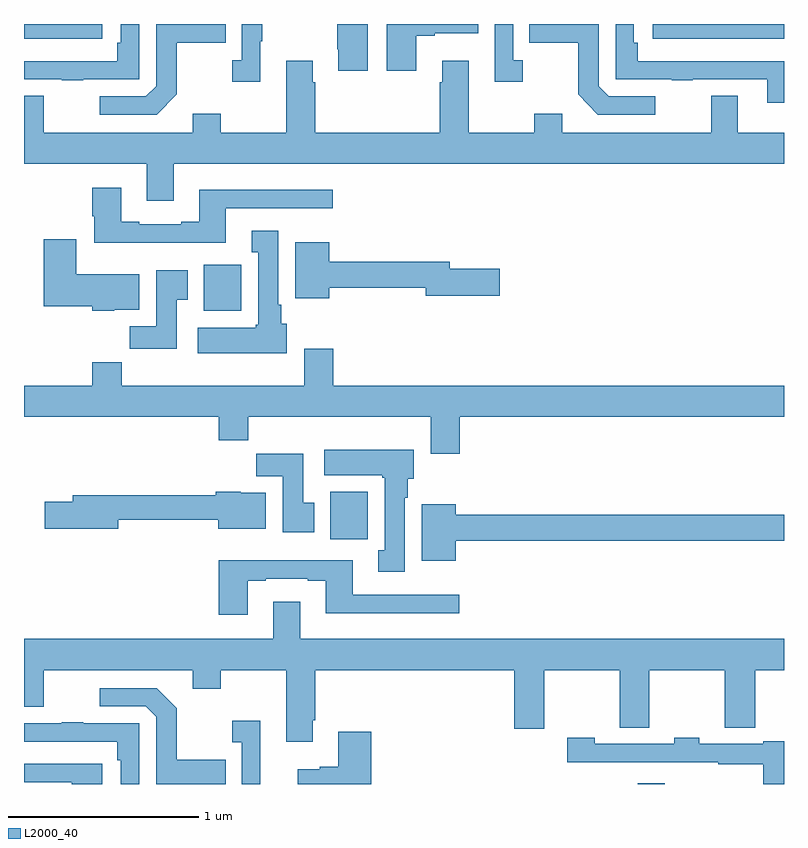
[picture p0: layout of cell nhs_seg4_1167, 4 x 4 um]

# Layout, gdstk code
import gdstk
lib = gdstk.Library(unit=1e-6, precision=1e-09)
def R(c, l, rs):  # rectangles x0, y0, x1, y1
    for r in rs: c.add(gdstk.rectangle(r[:2], r[2:], *l))
def P(c, l, *ps):  # polygons
    for p in ps: c.add(gdstk.Polygon(p, *l))
L2000_40 = (2000, 40)

nhs_seg4_1167 = lib.new_cell('nhs_seg4_1167')
R(nhs_seg4_1167, L2000_40, [(174.23,782.9,174.373,782.905), (172.613,784.188,172.809,784.438), (171.947,785.39,172.144,785.632), (171,786.822,171.412,786.9), (174.309,786.822,175,786.9)])
P(nhs_seg4_1167, L2000_40, [(171.311,786.609),(171.606,786.609),(171.606,786.9),(171.51,786.9),(171.51,786.802),(171.49,786.802),(171.49,786.705),(171,786.705),(171,786.609),(171.199,786.609),(171.199,786.604),(171.311,786.604)],
  [(172.81,786.9),(172.648,786.9),(172.648,786.766),(172.655,786.766),(172.655,786.654),(172.81,786.654)],
  [(174.322,786.519),(174.078,786.519),(174.024,786.573),(174.024,786.9),(173.659,786.9),(173.659,786.802),(173.916,786.802),(173.916,786.529),(174.021,786.423),(174.322,786.423)],
  [(173.065,786.839),(173.161,786.839),(173.161,786.851),(173.392,786.851),(173.392,786.9),(172.91,786.9),(172.91,786.654),(173.065,786.654)],
  [(171.805,786.529),(171.805,786.802),(172.061,786.802),(172.061,786.9),(171.696,786.9),(171.696,786.573),(171.642,786.519),(171.399,786.519),(171.399,786.423),(171.699,786.423)],
  [(175,786.704),(174.905,786.704),(174.905,786.705),(174.23,786.705),(174.23,786.802),(174.21,786.802),(174.21,786.9),(174.114,786.9),(174.114,786.609),(174.409,786.609),(174.409,786.604),(174.521,786.604),(174.521,786.609),(174.911,786.609),(174.911,786.486),(175,786.486)],
  [(172.243,786.809),(172.255,786.809),(172.255,786.9),(172.146,786.9),(172.146,786.71),(172.095,786.71),(172.095,786.597),(172.243,786.597)],
  [(173.626,786.71),(173.574,786.71),(173.574,786.9),(173.478,786.9),(173.478,786.597),(173.626,786.597)],
  [(171.787,786.164),(175,786.164),(175,786.328),(174.757,786.328),(174.757,786.523),(174.617,786.523),(174.617,786.328),(173.833,786.328),(173.833,786.427),(173.686,786.427),(173.686,786.328),(173.341,786.328),(173.341,786.706),(173.201,786.706),(173.201,786.593),(173.189,786.593),(173.189,786.328),(172.532,786.328),(172.532,786.593),(172.519,786.593),(172.519,786.706),(172.379,786.706),(172.379,786.328),(172.035,786.328),(172.035,786.427),(171.887,786.427),(171.887,786.328),(171.103,786.328),(171.103,786.523),(171,786.523),(171,786.164),(171.647,786.164),(171.647,785.97),(171.787,785.97)],
  [(172.063,785.931),(172.624,785.931),(172.624,786.028),(171.923,786.028),(171.923,785.86),(171.827,785.86),(171.827,785.847),(171.607,785.847),(171.607,785.86),(171.511,785.86),(171.511,786.037),(171.359,786.037),(171.359,785.889),(171.371,785.889),(171.371,785.75),(172.063,785.75)],
  [(172.384,785.322),(172.354,785.322),(172.354,785.422),(172.339,785.422),(172.339,785.812),(172.199,785.812),(172.199,785.699),(172.232,785.699),(172.232,785.316),(172.219,785.316),(172.219,785.302),(171.915,785.302),(171.915,785.168),(172.384,785.168)],
  [(171.474,785.396),(171.607,785.396),(171.607,785.584),(171.274,785.584),(171.274,785.767),(171.104,785.767),(171.104,785.414),(171.36,785.414),(171.36,785.39),(171.474,785.39)],
  [(172.606,785.512),(173.114,785.512),(173.114,785.47),(173.503,785.47),(173.503,785.612),(173.242,785.612),(173.242,785.648),(172.606,785.648),(172.606,785.752),(172.427,785.752),(172.427,785.456),(172.606,785.456)],
  [(171.805,785.449),(171.862,785.449),(171.862,785.605),(171.695,785.605),(171.695,785.308),(171.556,785.308),(171.556,785.19),(171.805,785.19)],
  [(173.294,784.832),(175,784.832),(175,784.996),(172.628,784.996),(172.628,785.191),(172.475,785.191),(172.475,784.996),(171.515,784.996),(171.515,785.12),(171.359,785.12),(171.359,784.996),(171,784.996),(171,784.832),(172.025,784.832),(172.025,784.708),(172.181,784.708),(172.181,784.832),(173.141,784.832),(173.141,784.638),(173.294,784.638)],
  [(173.005,784.406),(173.02,784.406),(173.02,784.506),(173.05,784.506),(173.05,784.66),(172.581,784.66),(172.581,784.526),(172.885,784.526),(172.885,784.513),(172.898,784.513),(172.898,784.129),(172.865,784.129),(172.865,784.017),(173.005,784.017)],
  [(172.528,784.38),(172.471,784.38),(172.471,784.639),(172.222,784.639),(172.222,784.52),(172.361,784.52),(172.361,784.224),(172.528,784.224)],
  [(171.496,784.291),(172.022,784.291),(172.022,784.244),(172.273,784.244),(172.273,784.432),(172.14,784.432),(172.14,784.438),(172.01,784.438),(172.01,784.42),(171.257,784.42),(171.257,784.386),(171.108,784.386),(171.108,784.244),(171.496,784.244)],
  [(173.272,784.18),(175,784.18),(175,784.316),(173.272,784.316),(173.272,784.372),(173.093,784.372),(173.093,784.076),(173.272,784.076)],
  [(172.177,783.969),(172.273,783.969),(172.273,783.981),(172.493,783.981),(172.493,783.969),(172.589,783.969),(172.589,783.8),(173.29,783.8),(173.29,783.897),(172.729,783.897),(172.729,784.078),(172.025,784.078),(172.025,783.792),(172.177,783.792)],
  [(172.519,783.235),(172.532,783.235),(172.532,783.5),(173.579,783.5),(173.579,783.192),(173.739,783.192),(173.739,783.5),(174.136,783.5),(174.136,783.196),(174.29,783.196),(174.29,783.5),(174.688,783.5),(174.688,783.196),(174.848,783.196),(174.848,783.5),(175,783.5),(175,783.664),(172.453,783.664),(172.453,783.859),(172.313,783.859),(172.313,783.664),(171,783.664),(171,783.306),(171.103,783.306),(171.103,783.5),(171.887,783.5),(171.887,783.401),(172.035,783.401),(172.035,783.5),(172.379,783.5),(172.379,783.123),(172.519,783.123)],
  [(172.061,783.027),(171.805,783.027),(171.805,783.299),(171.699,783.405),(171.399,783.405),(171.399,783.309),(171.642,783.309),(171.696,783.255),(171.696,782.9),(172.061,782.9)],
  [(172.244,783.232),(172.095,783.232),(172.095,783.119),(172.146,783.119),(172.146,782.9),(172.244,782.9)],
  [(171.606,783.219),(171.311,783.219),(171.311,783.224),(171.199,783.224),(171.199,783.219),(171,783.219),(171,783.123),(171.49,783.123),(171.49,783.026),(171.51,783.026),(171.51,782.9),(171.606,782.9)],
  [(172.828,783.175),(172.655,783.175),(172.655,782.99),(172.556,782.99),(172.556,782.977),(172.44,782.977),(172.44,782.9),(172.828,782.9)],
  [(175,783.124),(174.89,783.124),(174.89,783.111),(174.555,783.111),(174.555,783.144),(174.423,783.144),(174.423,783.111),(174.003,783.111),(174.003,783.144),(173.859,783.144),(173.859,783.015),(174.655,783.015),(174.655,783.003),(174.89,783.003),(174.89,782.9),(175,782.9)],
  [(171.412,783.006),(171,783.006),(171,782.91),(171.251,782.91),(171.251,782.9),(171.412,782.9)])

lib.write_gds('nhs_seg4_1167.gds')
